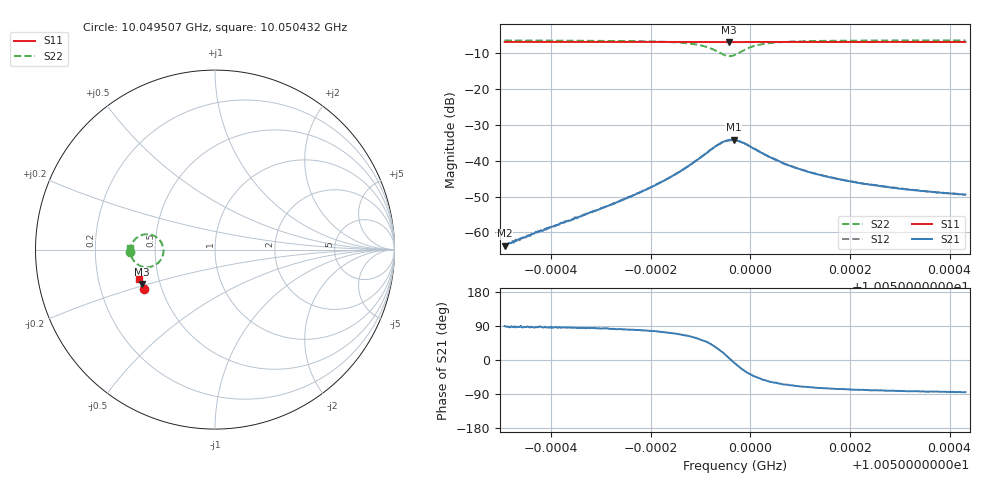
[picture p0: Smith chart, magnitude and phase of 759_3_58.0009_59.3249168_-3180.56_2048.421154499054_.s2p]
#  HZ  S  RI  R  50.00
! Rohde & Schwarz Vector Network Analyzer
! Rohde-Schwarz,ZNB20-2Port,1311601062101988,3.16
! Created: UTC 3/21/2024, 1:24:20 AM
! freq[Hz]  re:S11  im:S11  re:S21  im:S21  re:S12  im:S12  re:S22  im:S22
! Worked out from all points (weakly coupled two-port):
!   401 points, 10.049507 GHz to 10.050432 GHz, reference 50 ohm
!   highest |S21| = -34.14 dB at 10.049967 GHz (marker M1); lowest = -63.7 dB at 10.049507 GHz (marker M2)
!   lowest |S11| = -6.9 dB at 10.049958 GHz (marker M3), VSWR 2.64, Z = 19.7 - j9.54 ohm
!   |S11| at or under -10 dB: nowhere
!   |S22| runs from -10.8 to -6.5 dB; largest |S21 - S12| = 0.0012
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1.00495065e10  -0.3968 -0.2198  7.93e-06 0.000652  -6.08e-06 0.000643  -0.4736 -0.0118
1.00495736e10  -0.3989 -0.2158  6.41e-05 0.001  1.24e-05 0.00104  -0.4729 -0.00404
1.00496615e10  -0.4015 -0.2105  0.00015 0.00169  6.94e-05 0.00171  -0.471 0.00819
1.00497471e10  -0.404 -0.2054  0.000463 0.00288  0.000276 0.00289  -0.4661 0.0247
1.00498165e10  -0.4058 -0.201  0.00129 0.00469  0.000996 0.00477  -0.4553 0.0453
1.00498535e10  -0.4068 -0.1987  0.00242 0.00625  0.00212 0.00639  -0.4415 0.0615
1.00498813e10  -0.4073 -0.1968  0.00426 0.00786  0.00388 0.0081  -0.4211 0.0754
1.00499021e10  -0.4077 -0.1953  0.00685 0.00909  0.00634 0.0094  -0.3944 0.0844
1.00499183e10  -0.4078 -0.1942  0.01 0.00962  0.00959 0.01  -0.3632 0.0845
1.00499414e10  -0.4077 -0.1931  0.0164 0.00702  0.0158 0.0078  -0.3079 0.0523
1.00499576e10  -0.4076 -0.1926  0.0194 0.00159  0.019 0.00268  -0.287 -0.00235
1.00499668e10  -0.4079 -0.1924  0.0195 -0.00212  0.0192 -0.000933  -0.2925 -0.0373
1.00499692e10  -0.4078 -0.1925  0.0191 -0.00306  0.0192 -0.00183  -0.2957 -0.0452
1.00499923e10  -0.4088 -0.1919  0.0144 -0.00908  0.0148 -0.00809  -0.3499 -0.0935
1.00500085e10  -0.4096 -0.1909  0.0107 -0.0101  0.0112 -0.00935  -0.3865 -0.0982
1.00500247e10  -0.4105 -0.1901  0.00789 -0.01  0.00848 -0.00941  -0.4127 -0.092
1.00500663e10  -0.4118 -0.1875  0.00394 -0.00831  0.00458 -0.00794  -0.4474 -0.0684
1.00501241e10  -0.4135 -0.1839  0.00206 -0.00643  0.00246 -0.00634  -0.4639 -0.0438
1.00501889e10  -0.4151 -0.1798  0.00122 -0.0052  0.00151 -0.00514  -0.4702 -0.0263
1.00502791e10  -0.4176 -0.1742  0.000651 -0.00423  0.000921 -0.0042  -0.4735 -0.0101
1.00503693e10  -0.4196 -0.1686  0.000421 -0.00361  0.00066 -0.00361  -0.4744 0.00194
1.00504318e10  -0.4211 -0.1647  0.000305 -0.00336  0.000464 -0.00333  -0.4748 0.00894
